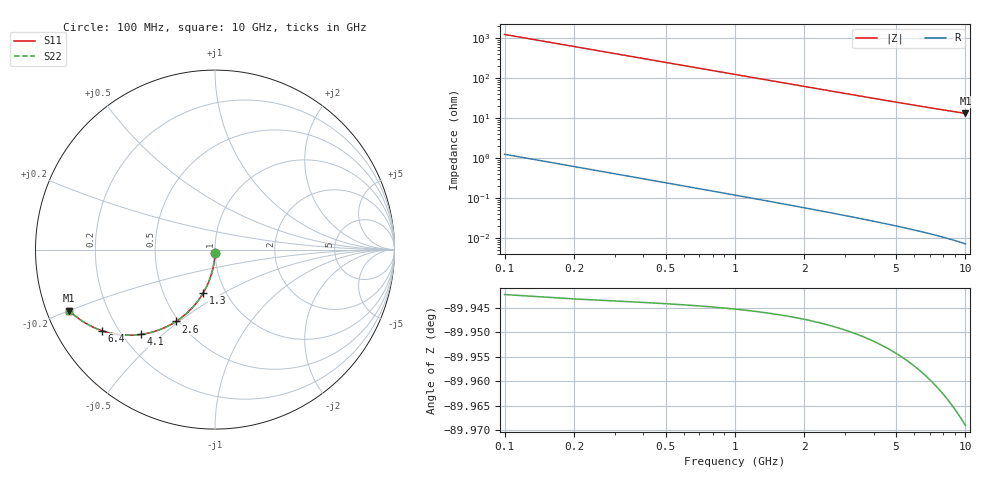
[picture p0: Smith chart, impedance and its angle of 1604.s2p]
# Hz S RI R 50.00
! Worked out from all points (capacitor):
!   100 points, 100 MHz to 10 GHz, reference 50 ohm
!   read as one part in shunt: C = 1.29 pF near 100 MHz
!   lowest |Z| = 13.1 ohm at 10 GHz (marker M1)
!   S11 on the Smith chart (normalised r, x): 100 MHz: 1.00, -0.04; 1.3 GHz: 0.79, -0.40; 2.6 GHz: 0.48, -0.49; 4.1 GHz: 0.28, -0.43; 6.4 GHz: 0.14, -0.31; 10 GHz: 0.07, -0.20
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1e8  -0.000199 -0.0198  0.9993 -0.0207  0.9993 -0.0207  -0.000199 -0.0198
2e8  -0.00144 -0.0395  0.9981 -0.0413  0.9981 -0.0413  -0.00144 -0.0395
3e8  -0.0035 -0.0591  0.996 -0.0619  0.996 -0.0619  -0.0035 -0.0591
4e8  -0.00635 -0.0785  0.9932 -0.0822  0.9932 -0.0822  -0.00635 -0.0785
5e8  -0.00999 -0.0978  0.9895 -0.1024  0.9895 -0.1024  -0.00999 -0.0978
6e8  -0.0144 -0.1168  0.9851 -0.1224  0.9851 -0.1224  -0.0144 -0.1168
7e8  -0.0196 -0.1356  0.9799 -0.1421  0.9799 -0.1421  -0.0196 -0.1356
8e8  -0.0254 -0.154  0.9741 -0.1614  0.9741 -0.1614  -0.0254 -0.154
1e9  -0.0393 -0.1897  0.9602 -0.199  0.9602 -0.199  -0.0393 -0.1897
1.3e9  -0.0647 -0.24  0.9347 -0.2521  0.9347 -0.2521  -0.0647 -0.24
1.5e9  -0.0844 -0.271  0.915 -0.2849  0.915 -0.2849  -0.0844 -0.271
1.8e9  -0.1173 -0.3133  0.8821 -0.33  0.8821 -0.33  -0.1173 -0.3133
2.2e9  -0.1658 -0.3615  0.8335 -0.3819  0.8335 -0.3819  -0.1658 -0.3615
2.6e9  -0.2175 -0.4002  0.7817 -0.4244  0.7817 -0.4244  -0.2175 -0.4002
3.4e9  -0.3228 -0.4513  0.6762 -0.4831  0.6762 -0.4831  -0.3228 -0.4513
4.1e9  -0.4101 -0.4723  0.5886 -0.5106  0.5886 -0.5106  -0.4101 -0.4723
5.1e9  -0.5196 -0.4751  0.4787 -0.523  0.4787 -0.523  -0.5196 -0.4751
6.4e9  -0.632 -0.4511  0.3656 -0.5116  0.3656 -0.5116  -0.632 -0.4511
6.7e9  -0.6536 -0.4431  0.3439 -0.5066  0.3439 -0.5066  -0.6536 -0.4431
7.5e9  -0.704 -0.4196  0.2929 -0.4909  0.2929 -0.4909  -0.704 -0.4196
8.4e9  -0.7503 -0.391  0.2459 -0.4713  0.2459 -0.4713  -0.7503 -0.391
1e10  -0.8118 -0.3398  0.1829 -0.4365  0.1829 -0.4365  -0.8118 -0.3398
